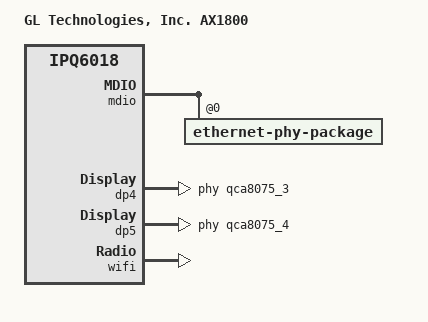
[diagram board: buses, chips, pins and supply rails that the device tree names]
// SPDX-License-Identifier: GPL-2.0-or-later OR MIT

/dts-v1/;

#include "ipq6000-glinet.dtsi"

/ {
	model = "GL Technologies, Inc. AX1800";
	compatible = "glinet,gl-ax1800", "qcom,ipq6018";

	aliases {
		ethernet3 = &dp4;
		ethernet4 = &dp5;
	};
};

&mdio {
	ethernet-phy-package@0 {
		qca8075_3: ethernet-phy@3 {
			compatible = "ethernet-phy-ieee802.3-c22";
			reg = <3>;
		};

		qca8075_4: ethernet-phy@4 {
			compatible = "ethernet-phy-ieee802.3-c22";
			reg = <4>;
		};
	};
};

&switch {
	switch_lan_bmp = <(ESS_PORT2 | ESS_PORT3 | ESS_PORT4 | ESS_PORT5)>;

	qcom,port_phyinfo {
		port@4 {
			port_id = <4>;
			phy_address = <3>;
		};

		port@5 {
			port_id = <5>;
			phy_address = <4>;
		};
	};
};

&dp4 {
	status = "okay";
	phy-handle = <&qca8075_3>;
	label = "lan3";
};

&dp5 {
	status = "okay";
	phy-handle = <&qca8075_4>;
	label = "lan4";
};

&wifi {
	status = "okay";
	qcom,ath11k-fw-memory-mode = <1>;
	qcom,ath11k-calibration-variant = "GL-iNet-GL-AX1800";
};
